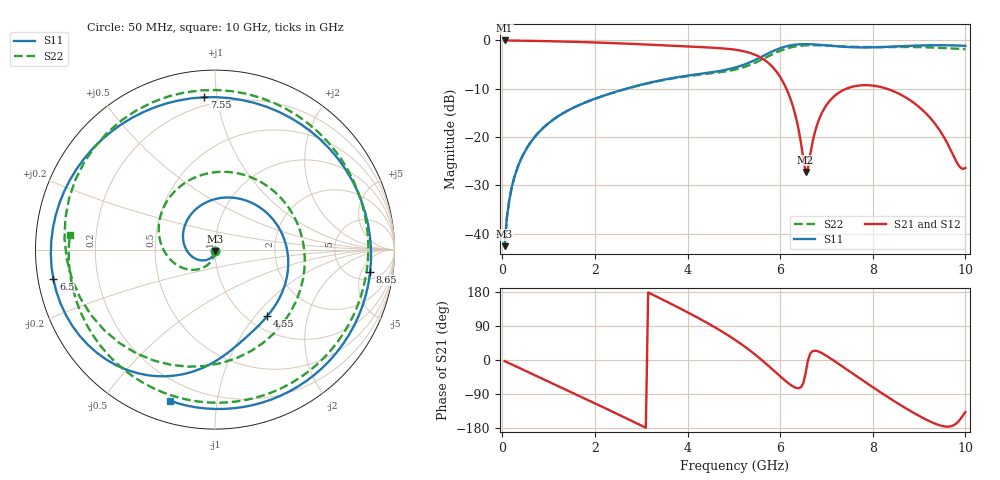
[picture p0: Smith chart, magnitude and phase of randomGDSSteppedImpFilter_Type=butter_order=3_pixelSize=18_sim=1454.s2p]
! freq	dB(S11)	phase(S11)	dB(S12)	phase(S12)
!  dB(S21)	phase(S21)	dB(S22)	phase(S22)
!S-par simulation data
#  GHz  S  DB  R 50
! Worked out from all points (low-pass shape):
!   200 points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, 50 MHz to 10 GHz, reference 50 ohm
!   highest |S21| = -0.01 dB at 50 MHz (marker M1); lowest = -27.2 dB at 6.55 GHz (marker M2)
!   |S21| within 3 dB of the highest: start of sweep to 5.468 GHz
!   lowest |S11| = -42.6 dB at 50 MHz (marker M3), VSWR 1.02, Z = 50 - j0.745 ohm
!   |S11| at or under -10 dB: start of sweep to 2.671 GHz
!   |S22| runs from -42.5 to -1.0 dB; largest |S21 - S12| = 0
!   S11 on the Smith chart (normalised r, x): 50 MHz: 1.00, -0.01; 4.55 GHz: 1.22, -1.16; 6.5 GHz: 0.04, -0.09; 7.55 GHz: 0.15, +0.92; 8.65 GHz: 7, -7; 10 GHz: 0.10, -0.74
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0.05  -42.56 -91.6  -0.01 -2.9  -0.01 -2.9  -42.48 -89.6
0.2  -30.58 -104.7  -0.02 -11.5  -0.02 -11.5  -30.54 -97.4
0.5  -22.78 -128.2  -0.06 -28.6  -0.06 -28.6  -22.74 -109.6
1.15  -16.05 -178.4  -0.19 -65.7  -0.19 -65.7  -16.03 -134.6
1.75  -13.00 134.6  -0.35 -100.0  -0.35 -100.0  -13.00 -156.2
2.65  -10.06 64.7  -0.65 -152.2  -0.65 -152.2  -10.10 169.4
3.4  -8.28 12.0  -0.97 163.1  -0.97 163.1  -8.36 133.3
4.55  -6.53 -51.8  -1.51 89.2  -1.51 89.2  -6.77 50.0
5.05  -5.55 -72.8  -1.95 51.2  -1.95 51.2  -5.97 -5.6
5.4  -4.30 -87.9  -2.75 20.1  -2.75 20.1  -4.87 -54.8
5.75  -2.65 -107.7  -4.69 -15.7  -4.69 -15.7  -3.26 -110.9
6.15  -1.17 -138.7  -10.32 -58.6  -10.32 -58.6  -1.64 -176.2
6.5  -0.77 -169.7  -24.45 -61.1  -24.45 -61.1  -1.05 132.5
6.55  -0.76 -174.2  -27.20 -34.7  -27.20 -34.7  -1.02 125.8
6.7  -0.81 172.4  -21.01 23.4  -21.01 23.4  -0.99 106.9
7.05  -1.07 140.8  -12.73 7.2  -12.73 7.2  -1.10 68.1
7.55  -1.40 94.1  -9.60 -34.3  -9.60 -34.3  -1.31 22.2
7.9  -1.45 60.5  -9.26 -63.5  -9.26 -63.5  -1.37 -6.1
8.35  -1.31 18.2  -10.14 -99.8  -10.14 -99.8  -1.36 -40.7
8.65  -1.18 -8.2  -11.45 -122.7  -11.45 -122.7  -1.35 -64.0
9.3  -0.99 -58.9  -16.70 -165.6  -16.70 -165.6  -1.48 -117.8
10  -1.12 -106.5  -26.38 -137.4  -26.38 -137.4  -1.79 174.1
